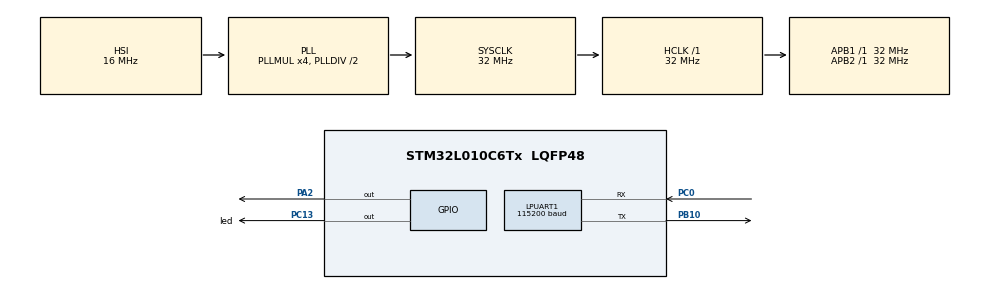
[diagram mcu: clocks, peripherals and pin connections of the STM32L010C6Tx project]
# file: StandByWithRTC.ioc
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LPUART1.BaudRate=115200
LPUART1.WordLength=UART_WORDLENGTH_8B
Mcu.Family=STM32L0
Mcu.Name=STM32L010C6Tx
Mcu.Package=LQFP48
NVIC.RTC_IRQn=true\:0\:0\:false\:false\:true\:true\:true
PA0.Mode=SYS_WakeUp0
PA0.Signal=SYS_WKUP1
PA13.Mode=Serial_Wire
PA13.Signal=SYS_SWDIO
PA14.Mode=Serial_Wire
PA14.Signal=SYS_SWCLK
PA2.Signal=GPIO_Output
PB10.Mode=Asynchronous
PB10.Signal=LPUART1_TX
PC0.Mode=Asynchronous
PC0.Signal=LPUART1_RX
PC13-ANTI_TAMP.GPIO_Label=led
PC13-ANTI_TAMP.Signal=GPIO_Output
PC14-OSC32_IN.Mode=LSE-External-Oscillator
PC14-OSC32_IN.Signal=RCC_OSC32_IN
PC15-OSC32_OUT.Mode=LSE-External-Oscillator
PC15-OSC32_OUT.Signal=RCC_OSC32_OUT
PH0-OSC_IN.Mode=HSE-External-Oscillator
PH0-OSC_IN.Signal=RCC_OSC_IN
PH1-OSC_OUT.Mode=HSE-External-Oscillator
PH1-OSC_OUT.Signal=RCC_OSC_OUT
ProjectManager.HeapSize=0x200
ProjectManager.StackSize=0x400
ProjectManager.TargetToolchain=STM32CubeIDE
RCC.AHBFreq_Value=32000000
RCC.APB1Freq_Value=32000000
RCC.APB1TimFreq_Value=32000000
RCC.APB2Freq_Value=32000000
RCC.APB2TimFreq_Value=32000000
RCC.HCLKFreq_Value=32000000
RCC.HSE_VALUE=25000000
RCC.HSI16_VALUE=16000000
RCC.HSI_VALUE=16000000
RCC.MSI_VALUE=2097000
RCC.PLLMUL=RCC_PLLMUL_4
RCC.SYSCLKFreq_VALUE=32000000
RCC.SYSCLKSource=RCC_SYSCLKSOURCE_PLLCLK
RCC.VCOOutputFreq_Value=64000000
RTC.SynchPrediv=295
RTC.WakeUpCounter-WakeUp=\ 0x5A55
VP_RTC_VS_RTC_Activate.Mode=RTC_Enabled
VP_RTC_VS_RTC_WakeUp_intern.Mode=WakeUp
board=custom

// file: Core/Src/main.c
/* USER CODE BEGIN Header */
/**
 ******************************************************************************
 * @file           : main.c
 * @brief          : Main program body
 ******************************************************************************
 * @attention
 *
 * <h2><center>&copy; Copyright (c) 2022 STMicroelectronics.
 * All rights reserved.</center></h2>
 *
 * This software component is licensed by ST under BSD 3-Clause license,
 * the "License"; You may not use this file except in compliance with the
 * License. You may obtain a copy of the License at:
 *                        opensource.org/licenses/BSD-3-Clause
 *
 ******************************************************************************
 */
/* USER CODE END Header */
#include "main.h"

/* USER CODE BEGIN Includes */
#include <string.h>
#include <stdio.h>
#define printf(...)  HAL_UART_Transmit((UART_HandleTypeDef *)&hlpuart1, (uint8_t *)u_buf,\
		                                sprintf((char*)u_buf,__VA_ARGS__), 0xFFFF);
uint8_t u_buf[256];
/* USER CODE END Includes */

UART_HandleTypeDef hlpuart1;

RTC_HandleTypeDef hrtc;

void SystemClock_Config(void);
static void MX_GPIO_Init(void);
static void MX_LPUART1_UART_Init(void);
static void MX_RTC_Init(void);

int main(void) {

	/* MCU Configuration--------------------------------------------------------*/

	/* Reset of all peripherals, Initializes the Flash interface and the Systick. */
	HAL_Init();

	/* Configure the system clock */
	SystemClock_Config();

	/* Initialize all configured peripherals */
	MX_GPIO_Init();
	MX_LPUART1_UART_Init();
	MX_RTC_Init();

	/* USER CODE BEGIN 2 */

	if (__HAL_PWR_GET_FLAG(PWR_FLAG_SB) != RESET) {
		__HAL_PWR_CLEAR_FLAG(PWR_FLAG_SB);
		printf("Wakeup from the STANDBY MODE\n\n");
		for (int i = 0; i < 20; i++) {
			HAL_GPIO_TogglePin(GPIOC, GPIO_PIN_13);
			HAL_Delay(200);
		}
		HAL_PWR_DisableWakeUpPin(PWR_WAKEUP_PIN1);
		HAL_RTCEx_DeactivateWakeUpTimer(&hrtc);
	}
	__HAL_PWR_CLEAR_FLAG(PWR_FLAG_WU);
	__HAL_RTC_WAKEUPTIMER_CLEAR_FLAG(&hrtc, RTC_FLAG_WUTF);
	printf("About to enter the STANDBY MODE\n\n");
	for (int i = 0; i < 5; i++) {
		HAL_GPIO_TogglePin(GPIOC, GPIO_PIN_13);
		HAL_Delay(750);
	}
	HAL_PWR_EnableWakeUpPin(PWR_WAKEUP_PIN1);
	if (HAL_RTCEx_SetWakeUpTimer_IT(&hrtc, 0x5A55, RTC_WAKEUPCLOCK_RTCCLK_DIV16)
			!= HAL_OK) {
		Error_Handler();
	}
	printf("STANDBY MODE is ON\n\n");

	HAL_PWR_EnterSTANDBYMode();

	/*   for (int i=0; i<5; i++)
	 {
	 HAL_GPIO_TogglePin(GPIOC, GPIO_PIN_13);
	 HAL_Delay(750);
	 }
	 for (int i=0; i<20; i++)
	 {
	 HAL_GPIO_TogglePin(GPIOA, GPIO_PIN_5);
	 HAL_Delay(200);
	 }

	 for (int i=0; i<5; i++)
	 {
	 HAL_GPIO_TogglePin(GPIOA, GPIO_PIN_5);
	 HAL_Delay(750);
	 }*/
	/* enable the RTC Wakeup */
	/*  RTC Wake-up Interrupt Generation:
	 Wake-up Time Base = (RTC_WAKEUPCLOCK_RTCCLK_DIV /(LSI))
	 ==> WakeUpCounter = Wake-up Time / Wake-up Time Base

	 To configure the wake up timer to 5s the WakeUpCounter is set to 0x2710:
	 RTC_WAKEUPCLOCK_RTCCLK_DIV = RTCCLK_Div16 = 16
	 Wake-up Time Base = 16 /(32KHz) = 0.0005 seconds
	 ==> WakeUpCounter = ~5s/0.0005s = 20000 = 0x2710
	 */
	/* if (__HAL_PWR_GET_FLAG(PWR_FLAG_SB) != RESET)
	 {
	 __HAL_PWR_CLEAR_FLAG(PWR_FLAG_SB);
	 printf("Wakeup from the STANDBY MODE\r\n");
	 HAL_PWR_DisableWakeUpPin(PWR_WAKEUP_PIN1);
	 HAL_RTCEx_DeactivateWakeUpTimer(&hrtc);
	 }

	 __HAL_PWR_CLEAR_FLAG(PWR_FLAG_WU);
	 __HAL_RTC_WAKEUPTIMER_CLEAR_FLAG(&hrtc, RTC_FLAG_WUTF);
	 HAL_PWR_EnableWakeUpPin(PWR_WAKEUP_PIN1);
	 SysTick->CTRL &= ~SysTick_CTRL_TICKINT_Msk;
	 NVIC_ClearPendingIRQ(SysTick_IRQn);
	 HAL_RTCEx_SetWakeUpTimer_IT(&hrtc, 0x5A55, RTC_WAKEUPCLOCK_RTCCLK_DIV16);
	 printf("STANDBY MODE is ON\n\n");
	 HAL_PWR_EnterSTANDBYMode();
	 printf("CIKTI\r\n");*/

	/* To configure the wake up timer to 4s the WakeUpCounter is set to 0x1FFF:
	 RTC_WAKEUPCLOCK_RTCCLK_DIV = RTCCLK_Div16 = 16
	 Wakeup Time Base = 16 /(~37.000kHz) = ~0,432 ms
	 Wakeup Time = 10s = 0,432 ms  * WakeUpCounter
	 ==> WakeUpCounter = ~10s/0,432 ms = 23125 = 0x5A55

	 */

	/* USER CODE END 2 */

	/* Infinite loop */
	while (1) {

	}
}

void SystemClock_Config(void) {
	RCC_OscInitTypeDef RCC_OscInitStruct = { 0 };
	RCC_ClkInitTypeDef RCC_ClkInitStruct = { 0 };
	RCC_PeriphCLKInitTypeDef PeriphClkInit = { 0 };

	/** Configure the main internal regulator output voltage
	 */
	__HAL_PWR_VOLTAGESCALING_CONFIG(PWR_REGULATOR_VOLTAGE_SCALE1);
	/** Initializes the RCC Oscillators according to the specified parameters
	 * in the RCC_OscInitTypeDef structure.
	 */
	RCC_OscInitStruct.OscillatorType = RCC_OSCILLATORTYPE_HSI
			| RCC_OSCILLATORTYPE_LSI;
	RCC_OscInitStruct.HSIState = RCC_HSI_ON;
	RCC_OscInitStruct.HSICalibrationValue = RCC_HSICALIBRATION_DEFAULT;
	RCC_OscInitStruct.LSIState = RCC_LSI_ON;
	RCC_OscInitStruct.PLL.PLLState = RCC_PLL_ON;
	RCC_OscInitStruct.PLL.PLLSource = RCC_PLLSOURCE_HSI;
	RCC_OscInitStruct.PLL.PLLMUL = RCC_PLLMUL_4;
	RCC_OscInitStruct.PLL.PLLDIV = RCC_PLLDIV_2;
	if (HAL_RCC_OscConfig(&RCC_OscInitStruct) != HAL_OK) {
		Error_Handler();
	}
	/** Initializes the CPU, AHB and APB buses clocks
	 */
	RCC_ClkInitStruct.ClockType = RCC_CLOCKTYPE_HCLK | RCC_CLOCKTYPE_SYSCLK
			| RCC_CLOCKTYPE_PCLK1 | RCC_CLOCKTYPE_PCLK2;
	RCC_ClkInitStruct.SYSCLKSource = RCC_SYSCLKSOURCE_PLLCLK;
	RCC_ClkInitStruct.AHBCLKDivider = RCC_SYSCLK_DIV1;
	RCC_ClkInitStruct.APB1CLKDivider = RCC_HCLK_DIV1;
	RCC_ClkInitStruct.APB2CLKDivider = RCC_HCLK_DIV1;

	if (HAL_RCC_ClockConfig(&RCC_ClkInitStruct, FLASH_LATENCY_1) != HAL_OK) {
		Error_Handler();
	}
	PeriphClkInit.PeriphClockSelection = RCC_PERIPHCLK_LPUART1
			| RCC_PERIPHCLK_RTC;
	PeriphClkInit.Lpuart1ClockSelection = RCC_LPUART1CLKSOURCE_PCLK1;
	PeriphClkInit.RTCClockSelection = RCC_RTCCLKSOURCE_LSI;
	if (HAL_RCCEx_PeriphCLKConfig(&PeriphClkInit) != HAL_OK) {
		Error_Handler();
	}
}

static void MX_LPUART1_UART_Init(void) {

	hlpuart1.Instance = LPUART1;
	hlpuart1.Init.BaudRate = 115200;
	hlpuart1.Init.WordLength = UART_WORDLENGTH_8B;
	hlpuart1.Init.StopBits = UART_STOPBITS_1;
	hlpuart1.Init.Parity = UART_PARITY_NONE;
	hlpuart1.Init.Mode = UART_MODE_TX_RX;
	hlpuart1.Init.HwFlowCtl = UART_HWCONTROL_NONE;
	hlpuart1.Init.OneBitSampling = UART_ONE_BIT_SAMPLE_DISABLE;
	hlpuart1.AdvancedInit.AdvFeatureInit = UART_ADVFEATURE_NO_INIT;
	if (HAL_UART_Init(&hlpuart1) != HAL_OK) {
		Error_Handler();
	}

}

static void MX_RTC_Init(void) {

	/** Initialize RTC Only
	 */
	hrtc.Instance = RTC;
	hrtc.Init.HourFormat = RTC_HOURFORMAT_24;
	hrtc.Init.AsynchPrediv = 127;
	hrtc.Init.SynchPrediv = 295;
	hrtc.Init.OutPut = RTC_OUTPUT_DISABLE;
	hrtc.Init.OutPutRemap = RTC_OUTPUT_REMAP_NONE;
	hrtc.Init.OutPutPolarity = RTC_OUTPUT_POLARITY_HIGH;
	hrtc.Init.OutPutType = RTC_OUTPUT_TYPE_OPENDRAIN;
	if (HAL_RTC_Init(&hrtc) != HAL_OK) {
		Error_Handler();
	}
	/** Enable the WakeUp
	 */
	if (HAL_RTCEx_SetWakeUpTimer_IT(&hrtc, 0x5A55, RTC_WAKEUPCLOCK_RTCCLK_DIV16)
			!= HAL_OK) {
		Error_Handler();
	}

}

static void MX_GPIO_Init(void) {
	GPIO_InitTypeDef GPIO_InitStruct = { 0 };

	/* GPIO Ports Clock Enable */
	__HAL_RCC_GPIOC_CLK_ENABLE();
	__HAL_RCC_GPIOH_CLK_ENABLE();
	__HAL_RCC_GPIOA_CLK_ENABLE();
	__HAL_RCC_GPIOB_CLK_ENABLE();

	/*Configure GPIO pin Output Level */
	HAL_GPIO_WritePin(led_GPIO_Port, led_Pin, GPIO_PIN_RESET);

	/*Configure GPIO pin Output Level */
	HAL_GPIO_WritePin(GPIOA, GPIO_PIN_2, GPIO_PIN_RESET);

	/*Configure GPIO pin : led_Pin */
	GPIO_InitStruct.Pin = led_Pin;
	GPIO_InitStruct.Mode = GPIO_MODE_OUTPUT_PP;
	GPIO_InitStruct.Pull = GPIO_NOPULL;
	GPIO_InitStruct.Speed = GPIO_SPEED_FREQ_LOW;
	HAL_GPIO_Init(led_GPIO_Port, &GPIO_InitStruct);

	/*Configure GPIO pin : PA2 */
	GPIO_InitStruct.Pin = GPIO_PIN_2;
	GPIO_InitStruct.Mode = GPIO_MODE_OUTPUT_PP;
	GPIO_InitStruct.Pull = GPIO_NOPULL;
	GPIO_InitStruct.Speed = GPIO_SPEED_FREQ_LOW;
	HAL_GPIO_Init(GPIOA, &GPIO_InitStruct);

}

/* USER CODE BEGIN 4 */

/**
  * @brief  This function configures the system to enter Standby mode with RTC
  *         clocked by LSI for current consumption measurement purpose.
  *         STANDBY Mode with RTC clocked by LSI
  *         ========================================
  *           - RTC Clocked by LSI
  *           - IWDG OFF
  *           - Automatic Wakeup using RTC clocked by LSI
  * @param  None
  * @retval None
  */

/* USER CODE END 4 */

void Error_Handler(void) {
	__disable_irq();
	while (1) {
	}
}

/************************ (C) COPYRIGHT STMicroelectronics *****END OF FILE****/
